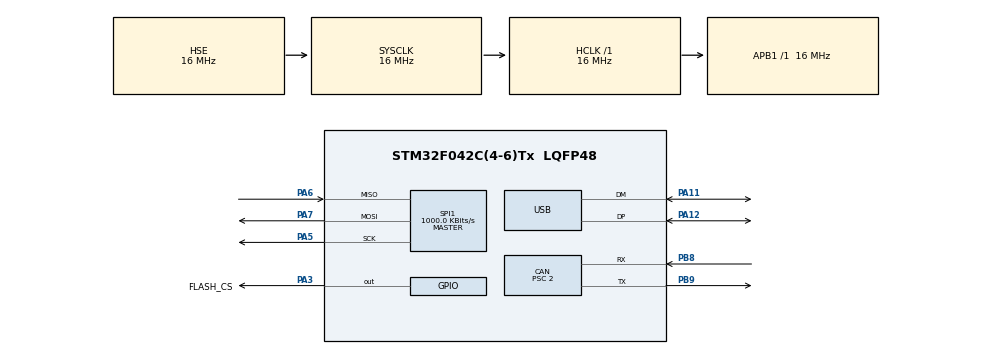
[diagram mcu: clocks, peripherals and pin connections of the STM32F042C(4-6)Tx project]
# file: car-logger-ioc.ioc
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CAN.BS1=CAN_BS1_13TQ
CAN.BS2=CAN_BS2_2TQ
CAN.CalculateBaudRate=500000
CAN.CalculateTimeBit=2000
CAN.CalculateTimeQuantum=125.0
CAN.Mode=CAN_MODE_NORMAL
CAN.Prescaler=2
Mcu.Family=STM32F0
Mcu.Name=STM32F042C(4-6)Tx
Mcu.Package=LQFP48
NVIC.CEC_CAN_IRQn=true\:0\:0\:false\:false\:true\:true\:true\:true
NVIC.USB_IRQn=true\:0\:0\:false\:false\:true\:false\:true\:true
PA11.Mode=Device
PA11.Signal=USB_DM
PA12.Mode=Device
PA12.Signal=USB_DP
PA3.GPIO_Label=FLASH_CS
PA3.GPIO_PuPd=GPIO_PULLUP
PA3.PinState=GPIO_PIN_SET
PA3.Signal=GPIO_Output
PA5.Mode=Full_Duplex_Master
PA5.Signal=SPI1_SCK
PA6.Mode=Full_Duplex_Master
PA6.Signal=SPI1_MISO
PA7.Mode=Full_Duplex_Master
PA7.Signal=SPI1_MOSI
PB8.GPIO_PuPd=GPIO_PULLUP
PB8.Mode=CAN_Activate
PB8.Signal=CAN_RX
PB9.GPIO_PuPd=GPIO_NOPULL
PB9.Mode=CAN_Activate
PB9.Signal=CAN_TX
PF0-OSC_IN.Mode=HSE-External-Oscillator
PF0-OSC_IN.Signal=RCC_OSC_IN
PF1-OSC_OUT.Mode=HSE-External-Oscillator
PF1-OSC_OUT.Signal=RCC_OSC_OUT
ProjectManager.HeapSize=0x100
ProjectManager.StackSize=0x100
ProjectManager.TargetToolchain=STM32CubeIDE
RCC.AHBFreq_Value=16000000
RCC.APB1Freq_Value=16000000
RCC.APB1TimFreq_Value=16000000
RCC.HCLKFreq_Value=16000000
RCC.HSE_Timout=100
RCC.HSE_VALUE=16000000
RCC.SYSCLKFreq_VALUE=16000000
RCC.SYSCLKSource=RCC_SYSCLKSOURCE_HSE
RCC.USBFreq_Value=48000000
SPI1.BaudRatePrescaler=SPI_BAUDRATEPRESCALER_16
SPI1.CLKPolarity=SPI_POLARITY_LOW
SPI1.CalculateBaudRate=1000.0 KBits/s
SPI1.DataSize=SPI_DATASIZE_8BIT
SPI1.Direction=SPI_DIRECTION_2LINES
SPI1.Mode=SPI_MODE_MASTER
SPI1.NSSPMode=SPI_NSS_PULSE_DISABLE
SPI1.VirtualType=VM_MASTER
USB_DEVICE.APP_RX_DATA_SIZE=128
USB_DEVICE.APP_TX_DATA_SIZE=512
USB_DEVICE.CLASS_NAME_FS=CDC
USB_DEVICE.USBD_MAX_STR_DESC_SIZ=128
USB_DEVICE.VirtualMode=Cdc
USB_DEVICE.VirtualModeFS=Cdc_FS
VP_USB_DEVICE_VS_USB_DEVICE_CDC_FS.Mode=CDC_FS
board=custom

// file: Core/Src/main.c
/* USER CODE BEGIN Header */
/**
  ******************************************************************************
  * @file           : main.c
  * @brief          : Main program body
  ******************************************************************************
  * @attention
  *
  * Copyright (c) 2024 STMicroelectronics.
  * All rights reserved.
  *
  * This software is licensed under terms that can be found in the LICENSE file
  * in the root directory of this software component.
  * If no LICENSE file comes with this software, it is provided AS-IS.
  *
  ******************************************************************************
  */
/* USER CODE END Header */
#include "main.h"
#include "usb_device.h"

/* USER CODE BEGIN Includes */

#include <App.h>
#include <Sleep.h>

/* USER CODE END Includes */

CAN_HandleTypeDef hcan;

SPI_HandleTypeDef hspi1;

void SystemClock_Config(void);
static void MX_GPIO_Init(void);
static void MX_CAN_Init(void);
static void MX_SPI1_Init(void);

/* USER CODE BEGIN 0 */
#define MS_PER_TX (3U)
/* USER CODE END 0 */

int main(void)
{

  /* MCU Configuration--------------------------------------------------------*/

  /* Reset of all peripherals, Initializes the Flash interface and the Systick. */
  HAL_Init();

  /* Configure the system clock */
  SystemClock_Config();

  /* Initialize all configured peripherals */
  MX_GPIO_Init();
  MX_CAN_Init();
  MX_USB_DEVICE_Init();
  MX_SPI1_Init();
  /* USER CODE BEGIN 2 */

  // Wait for serial
  sleepMs(2000);

  initSerial();
  initDataCollection();

  /* USER CODE END 2 */

  /* Infinite loop */
  /* USER CODE BEGIN WHILE */
  uint32_t currentTick = HAL_GetTick();
  while (1)
  {
    /* USER CODE END WHILE */

    /* USER CODE BEGIN 3 */
	  stepSerial();
	  stepDataCollection();

	  uint32_t newTick = HAL_GetTick();
	  int32_t elapsed = newTick - currentTick;
	  int32_t remainingTick = MS_PER_TX - elapsed;
	  if (remainingTick > 0)
	  {
		  sleepMs(remainingTick);
	  }
	  else
	  {
		  printf("Cycle overrun (remainingTick = %ld)\r\n", remainingTick);
	  }

	  currentTick = HAL_GetTick();

	  // Performance metrics
	  // printf("Elapsed time: %ld\r\n", elapsed);
  }
  /* USER CODE END 3 */
}

void SystemClock_Config(void)
{
  RCC_OscInitTypeDef RCC_OscInitStruct = {0};
  RCC_ClkInitTypeDef RCC_ClkInitStruct = {0};
  RCC_PeriphCLKInitTypeDef PeriphClkInit = {0};

  /** Initializes the RCC Oscillators according to the specified parameters
  * in the RCC_OscInitTypeDef structure.
  */
  RCC_OscInitStruct.OscillatorType = RCC_OSCILLATORTYPE_HSI48|RCC_OSCILLATORTYPE_HSE;
  RCC_OscInitStruct.HSEState = RCC_HSE_ON;
  RCC_OscInitStruct.HSI48State = RCC_HSI48_ON;
  RCC_OscInitStruct.PLL.PLLState = RCC_PLL_NONE;
  if (HAL_RCC_OscConfig(&RCC_OscInitStruct) != HAL_OK)
  {
    Error_Handler();
  }

  /** Initializes the CPU, AHB and APB buses clocks
  */
  RCC_ClkInitStruct.ClockType = RCC_CLOCKTYPE_HCLK|RCC_CLOCKTYPE_SYSCLK
                              |RCC_CLOCKTYPE_PCLK1;
  RCC_ClkInitStruct.SYSCLKSource = RCC_SYSCLKSOURCE_HSE;
  RCC_ClkInitStruct.AHBCLKDivider = RCC_SYSCLK_DIV1;
  RCC_ClkInitStruct.APB1CLKDivider = RCC_HCLK_DIV1;

  if (HAL_RCC_ClockConfig(&RCC_ClkInitStruct, FLASH_LATENCY_0) != HAL_OK)
  {
    Error_Handler();
  }
  PeriphClkInit.PeriphClockSelection = RCC_PERIPHCLK_USB;
  PeriphClkInit.UsbClockSelection = RCC_USBCLKSOURCE_HSI48;

  if (HAL_RCCEx_PeriphCLKConfig(&PeriphClkInit) != HAL_OK)
  {
    Error_Handler();
  }
}

static void MX_CAN_Init(void)
{

  hcan.Instance = CAN;
  hcan.Init.Prescaler = 2;
  hcan.Init.Mode = CAN_MODE_NORMAL;
  hcan.Init.SyncJumpWidth = CAN_SJW_1TQ;
  hcan.Init.TimeSeg1 = CAN_BS1_13TQ;
  hcan.Init.TimeSeg2 = CAN_BS2_2TQ;
  hcan.Init.TimeTriggeredMode = DISABLE;
  hcan.Init.AutoBusOff = DISABLE;
  hcan.Init.AutoWakeUp = DISABLE;
  hcan.Init.AutoRetransmission = DISABLE;
  hcan.Init.ReceiveFifoLocked = DISABLE;
  hcan.Init.TransmitFifoPriority = DISABLE;
  if (HAL_CAN_Init(&hcan) != HAL_OK)
  {
    Error_Handler();
  }

}

static void MX_SPI1_Init(void)
{

  /* SPI1 parameter configuration*/
  hspi1.Instance = SPI1;
  hspi1.Init.Mode = SPI_MODE_MASTER;
  hspi1.Init.Direction = SPI_DIRECTION_2LINES;
  hspi1.Init.DataSize = SPI_DATASIZE_8BIT;
  hspi1.Init.CLKPolarity = SPI_POLARITY_LOW;
  hspi1.Init.CLKPhase = SPI_PHASE_1EDGE;
  hspi1.Init.NSS = SPI_NSS_SOFT;
  hspi1.Init.BaudRatePrescaler = SPI_BAUDRATEPRESCALER_16;
  hspi1.Init.FirstBit = SPI_FIRSTBIT_MSB;
  hspi1.Init.TIMode = SPI_TIMODE_DISABLE;
  hspi1.Init.CRCCalculation = SPI_CRCCALCULATION_DISABLE;
  hspi1.Init.CRCPolynomial = 7;
  hspi1.Init.CRCLength = SPI_CRC_LENGTH_DATASIZE;
  hspi1.Init.NSSPMode = SPI_NSS_PULSE_DISABLE;
  if (HAL_SPI_Init(&hspi1) != HAL_OK)
  {
    Error_Handler();
  }

}

static void MX_GPIO_Init(void)
{
  GPIO_InitTypeDef GPIO_InitStruct = {0};

  /* GPIO Ports Clock Enable */
  __HAL_RCC_GPIOF_CLK_ENABLE();
  __HAL_RCC_GPIOA_CLK_ENABLE();
  __HAL_RCC_GPIOB_CLK_ENABLE();

  /*Configure GPIO pin Output Level */
  HAL_GPIO_WritePin(FLASH_CS_GPIO_Port, FLASH_CS_Pin, GPIO_PIN_SET);

  /*Configure GPIO pin : FLASH_CS_Pin */
  GPIO_InitStruct.Pin = FLASH_CS_Pin;
  GPIO_InitStruct.Mode = GPIO_MODE_OUTPUT_PP;
  GPIO_InitStruct.Pull = GPIO_PULLUP;
  GPIO_InitStruct.Speed = GPIO_SPEED_FREQ_LOW;
  HAL_GPIO_Init(FLASH_CS_GPIO_Port, &GPIO_InitStruct);

}

void Error_Handler(void)
{
  __disable_irq();
  while (1)
  {
  }
}
